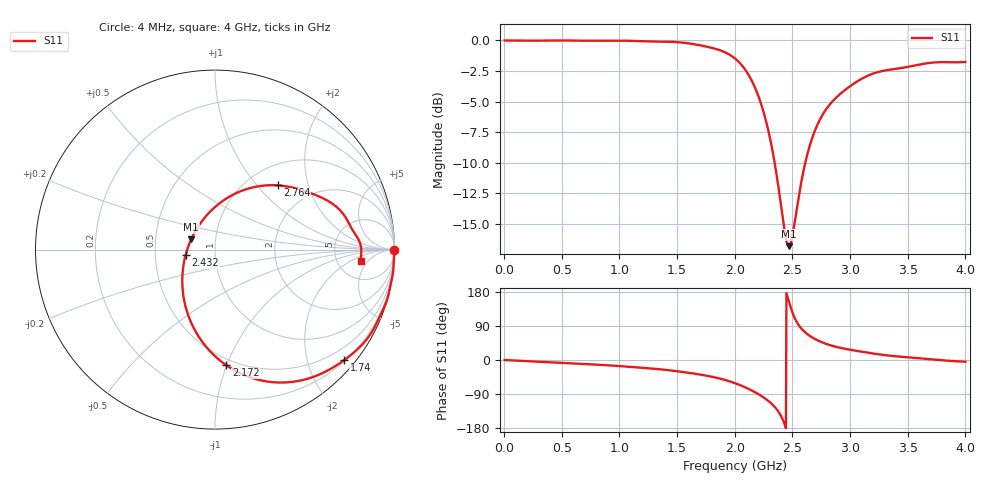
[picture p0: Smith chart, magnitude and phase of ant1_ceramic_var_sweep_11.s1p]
! TOUCHSTONE file generated by CST MICROWAVE STUDIO
! Date and time: Fri May  6 09:22:51 2022
! Project name: ant1_ceramic_sweep_10porcent.cst
! Parameters = {e=0.035; h=1.6; i=0.8; l1=0.5; l2=16.83; ls=80; wl=1.7; ws=30}
! Header version: 2018
! Port assignment regex: !\s*Touchstone port\s*([0-9]+)\s*=\s*(CST MWS port|CST DS port)\s*([0-9]+|Zmin|Zmax)\s*\(\"(.*)\"\)(\s*mode\s*([0-9]+))?.*
! Touchstone port assignment:
! Touchstone port 1 = CST MWS port 1 ("")
# GHz S DB R 50
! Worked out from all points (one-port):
!   1000 points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, 4 MHz to 4 GHz, reference 50 ohm
!   lowest |S11| = -16.8 dB at 2.468 GHz (marker M1), VSWR 1.34, Z = 38.1 + j4.54 ohm
!   |S11| at or under -10 dB: 2.346 GHz to 2.611 GHz (265.3 MHz wide, 10.7 % of centre)
!   S11 on the Smith chart (normalised r, x): 4 MHz: open; 1.74 GHz: 0.22, -2.69; 2.172 GHz: 0.45, -1.00; 2.432 GHz: 0.72, -0.05; 2.764 GHz: 1.36, +1.30; 4 GHz: 8.64, -3.33
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0.004  -0.00 -0.1
0.504  -0.00 -7.3
1.004  -0.01 -16.1
1.328  -0.09 -23.9
1.504  -0.14 -29.8
1.74  -0.47 -40.6
1.884  -0.85 -50.0
2.004  -1.49 -61.4
2.092  -2.41 -72.3
2.172  -3.78 -84.4
2.24  -5.54 -96.8
2.312  -8.27 -113.4
2.372  -11.55 -133.4
2.432  -15.56 -169.3
2.452  -16.52 172.4
2.468  -16.80 156.2
2.484  -16.58 140.1
2.504  -15.73 122.3
2.568  -12.02 86.5
2.628  -9.35 68.6
2.692  -7.44 56.0
2.764  -6.03 45.8
2.868  -4.77 35.6
3.004  -3.71 26.9
3.228  -2.62 15.8
3.504  -2.15 7.1
3.72  -1.80 1.3
4  -1.75 -4.5
